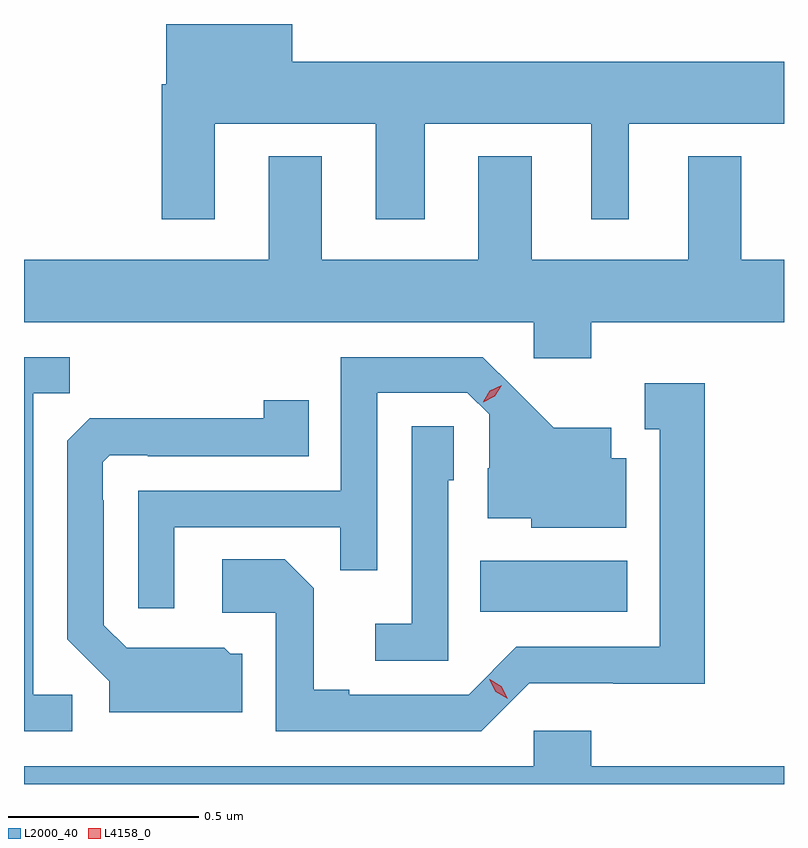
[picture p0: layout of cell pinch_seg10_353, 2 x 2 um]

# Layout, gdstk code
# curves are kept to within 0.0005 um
import gdstk
lib = gdstk.Library(unit=1e-6, precision=1e-09)
def R(c, l, rs):  # rectangles x0, y0, x1, y1
    for r in rs: c.add(gdstk.rectangle(r[:2], r[2:], *l))
def P(c, l, *ps):  # polygons
    for p in ps: c.add(gdstk.Polygon(p, *l))
L2000_40 = (2000, 40)
L4158_0 = (4158, 0)

pinch_seg10_353 = lib.new_cell('pinch_seg10_353')
R(pinch_seg10_353, L2000_40, [(400.438,1275.578,400.825,1275.712)])
P(pinch_seg10_353, L2000_40, [(399.739,1276.862),(400.163,1276.862),(400.163,1276.611),(400.291,1276.611),(400.291,1276.862),(400.73,1276.862),(400.73,1276.611),(400.828,1276.611),(400.828,1276.862),(401.237,1276.862),(401.237,1277.026),(399.943,1277.026),(399.943,1277.125),(399.611,1277.125),(399.611,1276.966),(399.599,1276.966),(399.599,1276.611),(399.739,1276.611)],
  [(400.73,1276.34),(401.237,1276.34),(401.237,1276.504),(401.125,1276.504),(401.125,1276.777),(400.985,1276.777),(400.985,1276.504),(400.573,1276.504),(400.573,1276.777),(400.433,1276.777),(400.433,1276.504),(400.021,1276.504),(400.021,1276.777),(399.881,1276.777),(399.881,1276.504),(399.237,1276.504),(399.237,1276.34),(400.578,1276.34),(400.578,1276.245),(400.73,1276.245)],
  [(399.364,1275.36),(399.261,1275.36),(399.261,1276.153),(399.357,1276.153),(399.357,1276.248),(399.237,1276.248),(399.237,1275.264),(399.364,1275.264)],
  [(399.633,1275.801),(400.069,1275.801),(400.069,1275.688),(400.167,1275.688),(400.167,1276.155),(400.404,1276.155),(400.461,1276.098),(400.461,1275.956),(400.457,1275.956),(400.457,1275.824),(400.572,1275.824),(400.572,1275.8),(400.822,1275.8),(400.822,1275.982),(400.783,1275.982),(400.783,1276.063),(400.631,1276.063),(400.444,1276.248),(400.071,1276.248),(400.071,1275.897),(399.537,1275.897),(399.537,1275.588),(399.633,1275.588)],
  [(400.566,1275.39),(400.788,1275.39),(400.788,1275.389),(401.029,1275.389),(401.029,1276.18),(400.871,1276.18),(400.871,1276.059),(400.91,1276.059),(400.91,1275.486),(400.533,1275.486),(400.407,1275.36),(400.093,1275.36),(400.093,1275.373),(399.999,1275.373),(399.999,1275.64),(399.923,1275.716),(399.759,1275.716),(399.759,1275.576),(399.9,1275.576),(399.9,1275.264),(400.44,1275.264)],
  [(399.811,1275.468),(399.78,1275.468),(399.764,1275.484),(399.63,1275.484),(399.63,1275.483),(399.507,1275.483),(399.447,1275.543),(399.447,1275.872),(399.444,1275.872),(399.444,1275.972),(399.462,1275.99),(399.562,1275.99),(399.562,1275.987),(399.986,1275.987),(399.986,1276.135),(399.868,1276.135),(399.868,1276.088),(399.511,1276.088),(399.511,1276.087),(399.41,1276.087),(399.351,1276.028),(399.351,1275.506),(399.461,1275.396),(399.461,1275.314),(399.811,1275.314)],
  [(400.353,1275.924),(400.368,1275.924),(400.368,1276.067),(400.257,1276.067),(400.257,1275.547),(400.161,1275.547),(400.161,1275.45),(400.353,1275.45)],
  [(401.237,1275.172),(400.73,1275.172),(400.73,1275.265),(400.578,1275.265),(400.578,1275.172),(399.237,1275.172),(399.237,1275.125),(401.237,1275.125)])
P(pinch_seg10_353, L4158_0, [(400.51,1275.349),(400.478,1275.368),(400.461,1275.401),(400.461,1275.401),(400.462,1275.401),(400.493,1275.382),(400.51,1275.349),(400.51,1275.349)],
  [(400.445,1276.13),(400.445,1276.131),(400.463,1276.16),(400.494,1276.174),(400.494,1276.174),(400.494,1276.174),(400.476,1276.145),(400.446,1276.13)])

lib.write_gds('pinch_seg10_353.gds')
